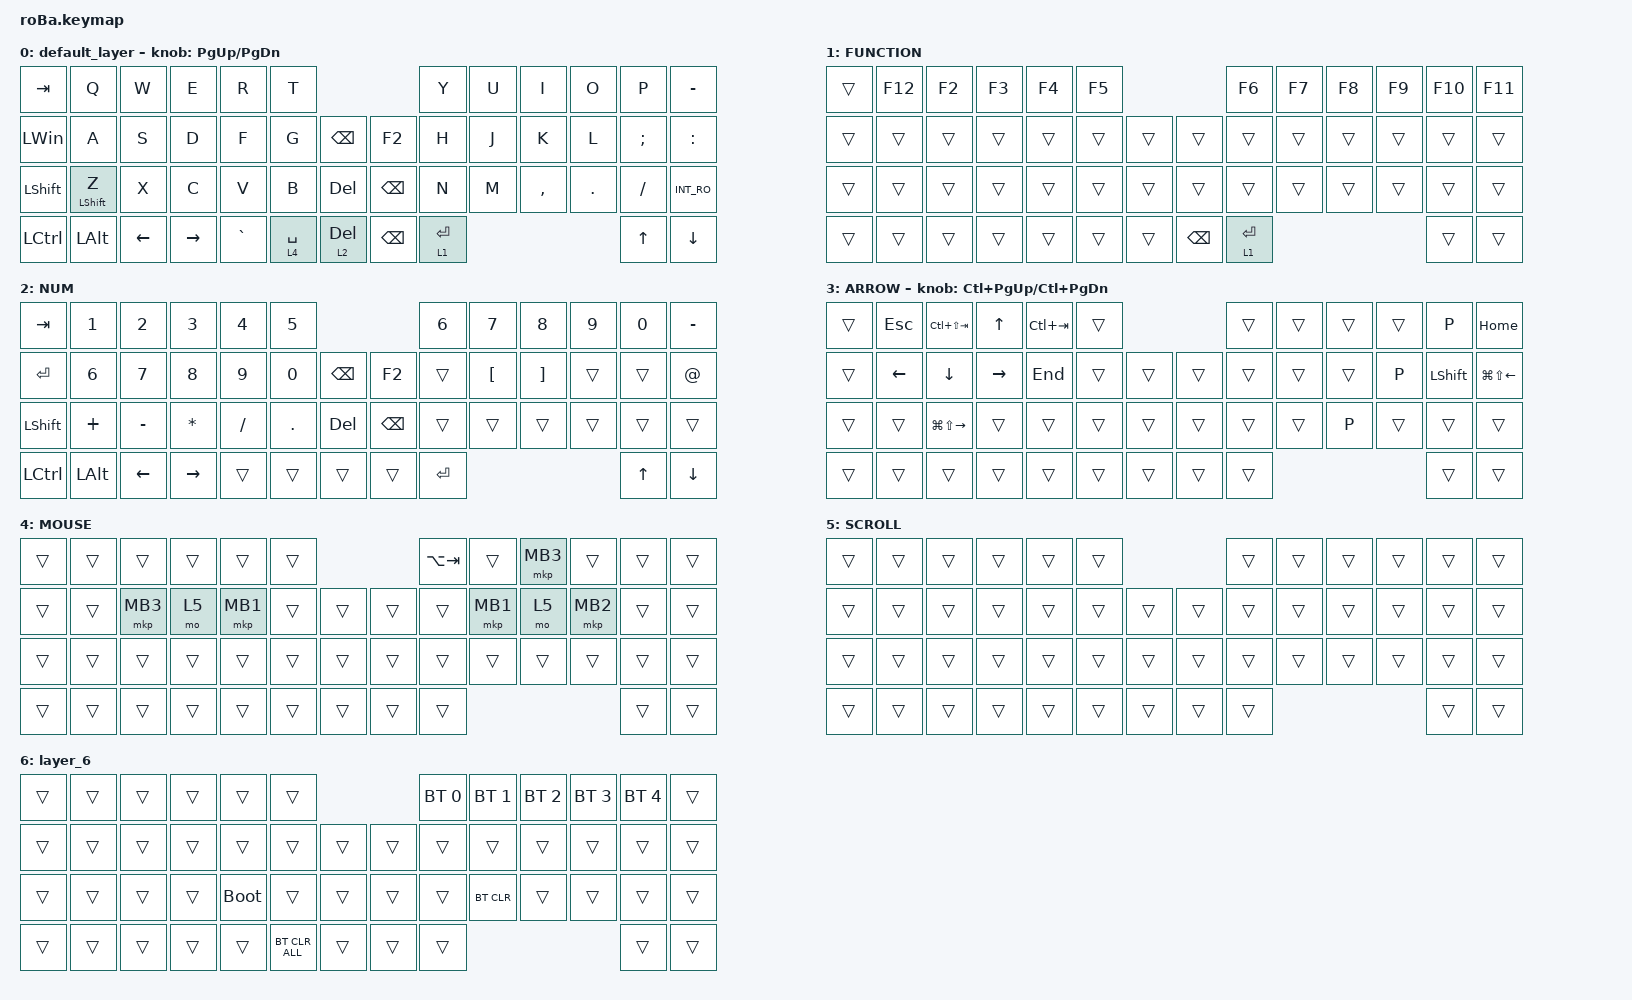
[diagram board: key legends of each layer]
#include <layout_shift.dtsi>
#include <layout_shift_kp_override.dtsi>
#include <behaviors.dtsi>
#include <dt-bindings/zmk/bt.h>
#include <dt-bindings/zmk/keys.h>
#include <dt-bindings/zmk/pointing.h>

#define MOUSE 4
#define SCROLL 5
#define NUM 6

&mt {
    flavor = "balanced";
    quick-tap-ms = <0>;
};

/ {
    combos {
        compatible = "zmk,combos";

        tab {
            bindings = <&kp TAB>;
            key-positions = <11 12>;
        };

        shift_tab {
            bindings = <&kp LS(TAB)>;
            key-positions = <12 13>;
        };

        muhennkann {
            bindings = <&to_layer_0 INT_MUHENKAN>;
            key-positions = <11 10>;
        };

        double_quotation {
            bindings = <&kp DOUBLE_QUOTES>;
            key-positions = <20 21>;
        };

        eq {
            bindings = <&kp EQUAL>;
            key-positions = <24 25>;
        };
    };

    macros {
        to_layer_0: to_layer_0 {
            compatible = "zmk,behavior-macro-one-param";
            #binding-cells = <1>;
            bindings = <&to 0 &macro_param_1to1 &kp MACRO_PLACEHOLDER>;
            label = "TO_LAYER_0";
        };
    };

    behaviors {
        lt_to_layer_0: lt_to_layer_0 {
            compatible = "zmk,behavior-hold-tap";
            label = "LAYER_TAP_TO_0";
            bindings = <&mo>, <&to_layer_0>;

            #binding-cells = <2>;
            tapping-term-ms = <200>;
        };
    };

    keymap {
        compatible = "zmk,keymap";

        default_layer {
            bindings = <
&kp TAB           &kp Q             &kp W           &kp E            &kp R      &kp T                                                 &kp Y        &kp U  &kp I      &kp O    &kp P          &kp MINUS
&kp LEFT_WIN      &kp A             &kp S           &kp D            &kp F      &kp G        &kp BACKSPACE             &kp F2         &kp H        &kp J  &kp K      &kp L    &kp SEMICOLON  &kp COLON
&kp LEFT_SHIFT    &mt LEFT_SHIFT Z  &kp X           &kp C            &kp V      &kp B        &kp DEL                   &kp BACKSPACE  &kp N        &kp M  &kp COMMA  &kp DOT  &kp SLASH      &kp INT_RO
&kp LEFT_CONTROL  &kp LEFT_ALT      &kp LEFT_ARROW  &kp RIGHT_ARROW  &kp GRAVE  &lt 4 SPACE  &lt_to_layer_0 2 DEL      &kp BACKSPACE  &lt 1 ENTER                             &kp UP_ARROW   &kp DOWN_ARROW
            >;

            sensor-bindings = <&inc_dec_kp PG_UP PAGE_DOWN>;
        };

        FUNCTION {
            bindings = <
&trans  &kp F12  &kp F2  &kp F3  &kp F4  &kp F5                             &kp F6       &kp F7  &kp F8  &kp F9  &kp F10  &kp F11
&trans  &trans   &trans  &trans  &trans  &trans  &trans      &trans         &trans       &trans  &trans  &trans  &trans   &trans
&trans  &trans   &trans  &trans  &trans  &trans  &trans      &trans         &trans       &trans  &trans  &trans  &trans   &trans
&trans  &trans   &trans  &trans  &trans  &trans  &trans      &kp BACKSPACE  &lt 1 ENTER                          &trans   &trans
            >;
        };

        NUM {
            bindings = <
&kp TAB           &kp NUMBER_1  &kp NUMBER_2    &kp NUMBER_3     &kp NUMBER_4  &kp NUMBER_5                                    &kp NUMBER_6  &kp N7            &kp NUMBER_8       &kp NUMBER_9  &kp NUMBER_0  &kp MINUS
&kp ENTER         &kp NUMBER_6  &kp NUMBER_7    &kp NUMBER_8     &kp NUMBER_9  &kp NUMBER_0  &kp BACKSPACE      &kp F2         &trans        &kp LEFT_BRACKET  &kp RIGHT_BRACKET  &trans        &trans        &kp AT_SIGN
&kp LEFT_SHIFT    &kp PLUS      &kp MINUS       &kp ASTRK        &kp SLASH     &kp PERIOD    &kp DEL            &kp BACKSPACE  &trans        &trans            &trans             &trans        &trans        &trans
&kp LEFT_CONTROL  &kp LEFT_ALT  &kp LEFT_ARROW  &kp RIGHT_ARROW  &trans        &trans        &trans             &trans         &kp ENTER                                                        &kp UP_ARROW  &kp DOWN_ARROW
            >;
        };

        ARROW {
            bindings = <
&trans  &kp ESCAPE      &kp LC(LS(TAB))          &kp UP_ARROW     &kp LC(TAB)  &trans                      &trans  &trans  &trans  &trans  &kp P           &kp HOME
&trans  &kp LEFT_ARROW  &kp DOWN_ARROW           &kp RIGHT_ARROW  &kp END      &trans  &trans      &trans  &trans  &trans  &trans  &kp P   &kp LEFT_SHIFT  &kp LG(LS(LEFT_ARROW))
&trans  &trans          &kp LG(LS(RIGHT_ARROW))  &trans           &trans       &trans  &trans      &trans  &trans  &trans  &kp P   &trans  &trans          &trans
&trans  &trans          &trans                   &trans           &trans       &trans  &trans      &trans  &trans                          &trans          &trans
            >;

            sensor-bindings = <&inc_dec_kp LC(PAGE_UP) LC(PAGE_DOWN)>;
        };

        MOUSE {
            bindings = <
&trans  &trans  &trans    &trans  &trans    &trans                      &kp LA(TAB)  &trans    &mkp MB3  &trans    &trans  &trans
&trans  &trans  &mkp MB3  &mo 5   &mkp MB1  &trans  &trans      &trans  &trans       &mkp MB1  &mo 5     &mkp MB2  &trans  &trans
&trans  &trans  &trans    &trans  &trans    &trans  &trans      &trans  &trans       &trans    &trans    &trans    &trans  &trans
&trans  &trans  &trans    &trans  &trans    &trans  &trans      &trans  &trans                                     &trans  &trans
            >;
        };

        SCROLL {
            bindings = <
&trans  &trans  &trans  &trans  &trans  &trans                      &trans  &trans  &trans  &trans  &trans  &trans
&trans  &trans  &trans  &trans  &trans  &trans  &trans      &trans  &trans  &trans  &trans  &trans  &trans  &trans
&trans  &trans  &trans  &trans  &trans  &trans  &trans      &trans  &trans  &trans  &trans  &trans  &trans  &trans
&trans  &trans  &trans  &trans  &trans  &trans  &trans      &trans  &trans                          &trans  &trans
            >;
        };

        layer_6 {
            bindings = <
&trans  &trans  &trans  &trans  &trans       &trans                              &bt BT_SEL 0  &bt BT_SEL 1  &bt BT_SEL 2  &bt BT_SEL 3  &bt BT_SEL 4  &trans
&trans  &trans  &trans  &trans  &trans       &trans          &trans      &trans  &trans        &trans        &trans        &trans        &trans        &trans
&trans  &trans  &trans  &trans  &bootloader  &trans          &trans      &trans  &trans        &bt BT_CLR    &trans        &trans        &trans        &trans
&trans  &trans  &trans  &trans  &trans       &bt BT_CLR_ALL  &trans      &trans  &trans                                                  &trans        &trans
            >;
        };
    };
};
